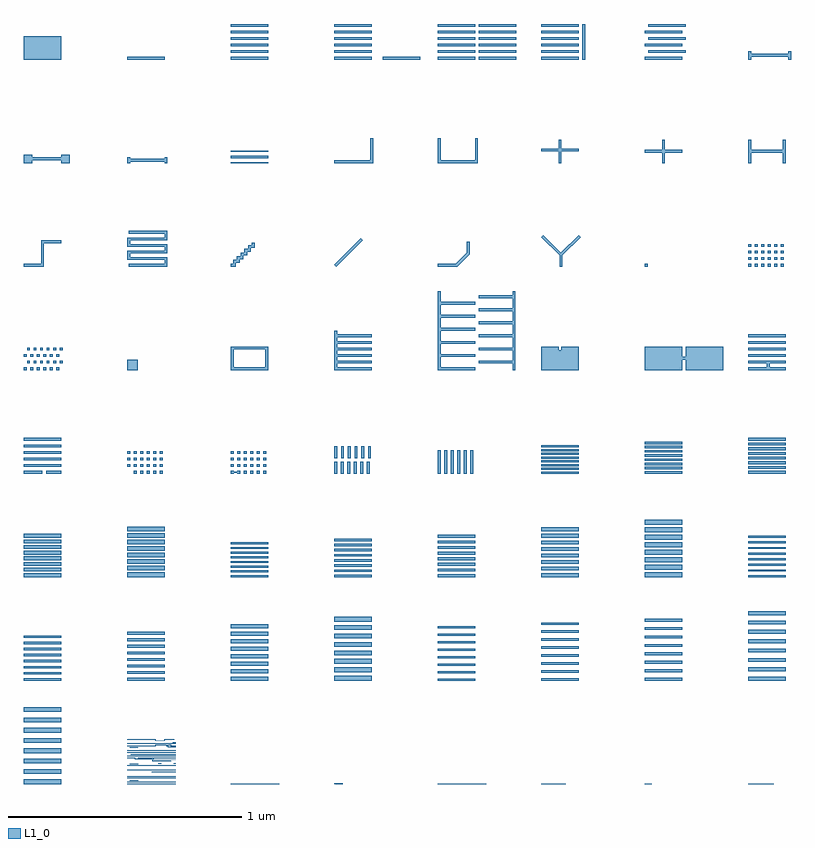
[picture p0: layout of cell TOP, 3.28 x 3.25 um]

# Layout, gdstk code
import gdstk
lib = gdstk.Library(unit=1e-6, precision=1e-10)
def R(c, l, rs):  # rectangles x0, y0, x1, y1
    for r in rs: c.add(gdstk.rectangle(r[:2], r[2:], *l))
def A(c, l, x, y, w, h, nx, ny, dx, dy):  # array of equal rectangles
    R(c, l, [(x+i*dx, y+j*dy, x+i*dx+w, y+j*dy+h) for i in range(nx) for j in range(ny)])
def P(c, l, *ps):  # polygons
    for p in ps: c.add(gdstk.Polygon(p, *l))
L1_0 = (1, 0)

p00000 = lib.new_cell('P00000')
R(p00000, L1_0, [(0,0,0.16,0.1)])

p00001 = lib.new_cell('P00001')
R(p00001, L1_0, [(0.4426,0,0.6026,0.012)])

p00002 = lib.new_cell('P00002')
A(p00002, L1_0, 0.8852, 0, 0.16, 0.012, 1, 6, 0, 0.028)

p00003 = lib.new_cell('P00003')
A(p00003, L1_0, 1.3278, 0, 0.16, 0.012, 1, 6, 0, 0.028)
R(p00003, L1_0, [(1.5358,0,1.6958,0.012)])

p00004 = lib.new_cell('P00004')
A(p00004, L1_0, 1.7704, 0, 0.16, 0.012, 1, 6, 0, 0.028)
A(p00004, L1_0, 1.9464, 0, 0.16, 0.012, 1, 6, 0, 0.028)

p00005 = lib.new_cell('P00005')
A(p00005, L1_0, 2.213, 0, 0.16, 0.012, 1, 6, 0, 0.028)
R(p00005, L1_0, [(2.389,0,2.401,0.152)])

p00006 = lib.new_cell('P00006')
A(p00006, L1_0, 2.6556, 0, 0.16, 0.012, 1, 3, 0, 0.056)
A(p00006, L1_0, 2.6716, 0.028, 0.16, 0.012, 1, 3, 0, 0.056)

p00007 = lib.new_cell('P00007')
P(p00007, L1_0, [(3.0982,0.036),(3.0982,0),(3.1102,0),(3.1102,0.012),(3.2702,0.012),(3.2702,0),(3.2822,0),(3.2822,0.036),(3.2702,0.036),(3.2702,0.024),(3.1102,0.024),(3.1102,0.036)])

p00008 = lib.new_cell('P00008')
P(p00008, L1_0, [(0.036,-0.4306),(0.16,-0.4306),(0.16,-0.4426),(0.196,-0.4426),(0.196,-0.4066),(0.16,-0.4066),(0.16,-0.4186),(0.036,-0.4186),(0.036,-0.4066),(0,-0.4066),(0,-0.4426),(0.036,-0.4426)])

p00009 = lib.new_cell('P00009')
P(p00009, L1_0, [(0.6026,-0.4186),(0.6026,-0.4246),(0.4546,-0.4246),(0.4546,-0.4186),(0.4426,-0.4186),(0.4426,-0.4426),(0.4546,-0.4426),(0.4546,-0.4366),(0.6026,-0.4366),(0.6026,-0.4426),(0.6146,-0.4426),(0.6146,-0.4186)])

p00010 = lib.new_cell('P00010')
R(p00010, L1_0, [(0.8852,-0.4426,1.0452,-0.4386), (0.8852,-0.4226,1.0452,-0.4106), (0.8852,-0.3946,1.0452,-0.3906)])

p00011 = lib.new_cell('P00011')
P(p00011, L1_0, [(1.4938,-0.3366),(1.4818,-0.3366),(1.4818,-0.4306),(1.3278,-0.4306),(1.3278,-0.4426),(1.4938,-0.4426)])

p00012 = lib.new_cell('P00012')
P(p00012, L1_0, [(1.9424,-0.3366),(1.9304,-0.3366),(1.9304,-0.4306),(1.7824,-0.4306),(1.7824,-0.3366),(1.7704,-0.3366),(1.7704,-0.4426),(1.9424,-0.4426)])

p00013 = lib.new_cell('P00013')
P(p00013, L1_0, [(2.299,-0.3926),(2.373,-0.3926),(2.373,-0.3806),(2.299,-0.3806),(2.299,-0.3426),(2.287,-0.3426),(2.287,-0.3806),(2.213,-0.3806),(2.213,-0.3926),(2.287,-0.3926),(2.287,-0.4426),(2.299,-0.4426)])

p00014 = lib.new_cell('P00014')
P(p00014, L1_0, [(2.7416,-0.3986),(2.8156,-0.3986),(2.8156,-0.3866),(2.7416,-0.3866),(2.7416,-0.3426),(2.7296,-0.3426),(2.7296,-0.3866),(2.6556,-0.3866),(2.6556,-0.3986),(2.7296,-0.3986),(2.7296,-0.4426),(2.7416,-0.4426)])

p00015 = lib.new_cell('P00015')
P(p00015, L1_0, [(3.2462,-0.3426),(3.2462,-0.3866),(3.1102,-0.3866),(3.1102,-0.3426),(3.0982,-0.3426),(3.0982,-0.4426),(3.1102,-0.4426),(3.1102,-0.3986),(3.2462,-0.3986),(3.2462,-0.4426),(3.2582,-0.4426),(3.2582,-0.3426)])

p00016 = lib.new_cell('P00016')
P(p00016, L1_0, [(0.086,-0.7852),(0.16,-0.7852),(0.16,-0.7732),(0.074,-0.7732),(0.074,-0.8732),(0,-0.8732),(0,-0.8852),(0.086,-0.8852)])

p00017 = lib.new_cell('P00017')
P(p00017, L1_0, [(0.6146,-0.8452),(0.4546,-0.8452),(0.4546,-0.8292),(0.6146,-0.8292),(0.6146,-0.7892),(0.4546,-0.7892),(0.4546,-0.7732),(0.6146,-0.7732),(0.6146,-0.7332),(0.4486,-0.7332),(0.4486,-0.7452),(0.6026,-0.7452),(0.6026,-0.7612),(0.4426,-0.7612),(0.4426,-0.8012),(0.6026,-0.8012),(0.6026,-0.8172),(0.4426,-0.8172),(0.4426,-0.8572),(0.6026,-0.8572),(0.6026,-0.8732),(0.4486,-0.8732),(0.4486,-0.8852),(0.6146,-0.8852)])

p00018 = lib.new_cell('P00018')
P(p00018, L1_0, [(0.9072,-0.8692),(0.9232,-0.8692),(0.9232,-0.8532),(0.9392,-0.8532),(0.9392,-0.8372),(0.9552,-0.8372),(0.9552,-0.8212),(0.9712,-0.8212),(0.9712,-0.8052),(0.9872,-0.8052),(0.9872,-0.7832),(0.9752,-0.7832),(0.9752,-0.7932),(0.9592,-0.7932),(0.9592,-0.8092),(0.9432,-0.8092),(0.9432,-0.8252),(0.9272,-0.8252),(0.9272,-0.8412),(0.9112,-0.8412),(0.9112,-0.8572),(0.8952,-0.8572),(0.8952,-0.8732),(0.8852,-0.8732),(0.8852,-0.8852),(0.9072,-0.8852)])

p00019 = lib.new_cell('P00019')
P(p00019, L1_0, [(1.4494,-0.7721),(1.4409,-0.7636),(1.3278,-0.8768),(1.3362,-0.8852)])

p00020 = lib.new_cell('P00020')
P(p00020, L1_0, [(1.9064,-0.8317),(1.9064,-0.7792),(1.8944,-0.7792),(1.8944,-0.8267),(1.8479,-0.8732),(1.7704,-0.8732),(1.7704,-0.8852),(1.8529,-0.8852)])

p00021 = lib.new_cell('P00021')
P(p00021, L1_0, [(2.3032,-0.8376),(2.3814,-0.7594),(2.373,-0.751),(2.2972,-0.8268),(2.2214,-0.751),(2.213,-0.7594),(2.2912,-0.8377),(2.2912,-0.8852),(2.3032,-0.8852)])

p00022 = lib.new_cell('P00022')
R(p00022, L1_0, [(2.6556,-0.8852,2.6676,-0.8732)])

p00023 = lib.new_cell('P00023')
A(p00023, L1_0, 3.0982, -0.8852, 0.012, 0.012, 6, 4, 0.028, 0.028)

p00024 = lib.new_cell('P00024')
A(p00024, L1_0, 0, -1.3278, 0.012, 0.012, 6, 2, 0.028, 0.056)
A(p00024, L1_0, 0.014, -1.2998, 0.012, 0.012, 6, 2, 0.028, 0.056)

p00025 = lib.new_cell('P00025')
R(p00025, L1_0, [(0.4426,-1.3278,0.4866,-1.2838)])

p00026 = lib.new_cell('P00026')
P(p00026, L1_0, [(1.0452,-1.2278),(0.8852,-1.2278),(0.8852,-1.3158),(0.8972,-1.3158),(0.8972,-1.2398),(1.0332,-1.2398),(1.0332,-1.3158),(0.8852,-1.3158),(0.8852,-1.3278),(1.0452,-1.3278)])

p00027 = lib.new_cell('P00027')
P(p00027, L1_0, [(1.4878,-1.3158),(1.3398,-1.3158),(1.3398,-1.2998),(1.4878,-1.2998),(1.4878,-1.2878),(1.3398,-1.2878),(1.3398,-1.2718),(1.4878,-1.2718),(1.4878,-1.2598),(1.3398,-1.2598),(1.3398,-1.2438),(1.4878,-1.2438),(1.4878,-1.2318),(1.3398,-1.2318),(1.3398,-1.2158),(1.4878,-1.2158),(1.4878,-1.2038),(1.3398,-1.2038),(1.3398,-1.1878),(1.4878,-1.1878),(1.4878,-1.1758),(1.3398,-1.1758),(1.3398,-1.1598),(1.3278,-1.1598),(1.3278,-1.3278),(1.4878,-1.3278)])

p00028 = lib.new_cell('P00028')
P(p00028, L1_0, [(2.1024,-0.9918),(2.0904,-0.9918),(2.0904,-1.0078),(1.9464,-1.0078),(1.9464,-1.0198),(2.0904,-1.0198),(2.0904,-1.0638),(1.9464,-1.0638),(1.9464,-1.0758),(2.0904,-1.0758),(2.0904,-1.1198),(1.9464,-1.1198),(1.9464,-1.1318),(2.0904,-1.1318),(2.0904,-1.1758),(1.9464,-1.1758),(1.9464,-1.1878),(2.0904,-1.1878),(2.0904,-1.2318),(1.9464,-1.2318),(1.9464,-1.2438),(2.0904,-1.2438),(2.0904,-1.2878),(1.9464,-1.2878),(1.9464,-1.2998),(2.0904,-1.2998),(2.0904,-1.3278),(2.1024,-1.3278)],
  [(1.9304,-1.3158),(1.7824,-1.3158),(1.7824,-1.2718),(1.9304,-1.2718),(1.9304,-1.2598),(1.7824,-1.2598),(1.7824,-1.2158),(1.9304,-1.2158),(1.9304,-1.2038),(1.7824,-1.2038),(1.7824,-1.1598),(1.9304,-1.1598),(1.9304,-1.1478),(1.7824,-1.1478),(1.7824,-1.1038),(1.9304,-1.1038),(1.9304,-1.0918),(1.7824,-1.0918),(1.7824,-1.0478),(1.9304,-1.0478),(1.9304,-1.0358),(1.7824,-1.0358),(1.7824,-0.9918),(1.7704,-0.9918),(1.7704,-1.3278),(1.9304,-1.3278)])

p00029 = lib.new_cell('P00029')
P(p00029, L1_0, [(2.373,-1.2278),(2.299,-1.2278),(2.299,-1.2438),(2.287,-1.2438),(2.287,-1.2278),(2.213,-1.2278),(2.213,-1.3278),(2.373,-1.3278)])

p00030 = lib.new_cell('P00030')
P(p00030, L1_0, [(2.6556,-1.2278),(2.6556,-1.3278),(2.8156,-1.3278),(2.8156,-1.2838),(2.8316,-1.2838),(2.8316,-1.3278),(2.9916,-1.3278),(2.9916,-1.2278),(2.8316,-1.2278),(2.8316,-1.2718),(2.8156,-1.2718),(2.8156,-1.2278)])

p00031 = lib.new_cell('P00031')
A(p00031, L1_0, 3.0982, -1.2718, 0.16, 0.012, 1, 4, 0, 0.028)
P(p00031, L1_0, [(3.0982,-1.3158),(3.0982,-1.3278),(3.2582,-1.3278),(3.2582,-1.3158),(3.1902,-1.3158),(3.1902,-1.2998),(3.2582,-1.2998),(3.2582,-1.2878),(3.0982,-1.2878),(3.0982,-1.2998),(3.1782,-1.2998),(3.1782,-1.3158)])

p00032 = lib.new_cell('P00032')
A(p00032, L1_0, 0, -1.7424, 0.16, 0.012, 1, 5, 0, 0.028)
R(p00032, L1_0, [(0,-1.7704,0.08,-1.7584), (0.096,-1.7704,0.16,-1.7584)])

p00033 = lib.new_cell('P00033')
A(p00033, L1_0, 0.4706, -1.7704, 0.012, 0.012, 5, 1, 0.028, 0)
A(p00033, L1_0, 0.4426, -1.7424, 0.012, 0.012, 6, 3, 0.028, 0.028)

p00034 = lib.new_cell('P00034')
A(p00034, L1_0, 0.9412, -1.7704, 0.012, 0.012, 4, 1, 0.028, 0)
A(p00034, L1_0, 0.8852, -1.7424, 0.012, 0.012, 6, 3, 0.028, 0.028)
P(p00034, L1_0, [(0.8852,-1.7584),(0.8852,-1.7704),(0.8972,-1.7704),(0.8972,-1.7664),(0.9132,-1.7664),(0.9132,-1.7704),(0.9252,-1.7704),(0.9252,-1.7584),(0.9132,-1.7584),(0.9132,-1.7624),(0.8972,-1.7624),(0.8972,-1.7584)])

p00035 = lib.new_cell('P00035')
A(p00035, L1_0, 1.3278, -1.7704, 0.012, 0.05, 6, 1, 0.028, 0)
A(p00035, L1_0, 1.3278, -1.7044, 0.012, 0.05, 6, 1, 0.029, 0)

p00036 = lib.new_cell('P00036')
A(p00036, L1_0, 1.7704, -1.7704, 0.012, 0.1, 6, 1, 0.028, 0)

p00037 = lib.new_cell('P00037')
A(p00037, L1_0, 2.213, -1.7704, 0.16, 0.008, 1, 8, 0, 0.016)

p00038 = lib.new_cell('P00038')
A(p00038, L1_0, 2.6556, -1.7704, 0.16, 0.01, 1, 8, 0, 0.018)

p00039 = lib.new_cell('P00039')
A(p00039, L1_0, 3.0982, -1.7704, 0.16, 0.012, 1, 8, 0, 0.02)

p00040 = lib.new_cell('P00040')
A(p00040, L1_0, 0, -2.213, 0.16, 0.016, 1, 8, 0, 0.024)

p00041 = lib.new_cell('P00041')
A(p00041, L1_0, 0.4426, -2.213, 0.16, 0.02, 1, 8, 0, 0.028)

p00042 = lib.new_cell('P00042')
A(p00042, L1_0, 0.8852, -2.213, 0.16, 0.008, 1, 8, 0, 0.02)

p00043 = lib.new_cell('P00043')
A(p00043, L1_0, 1.3278, -2.213, 0.16, 0.01, 1, 8, 0, 0.022)

p00044 = lib.new_cell('P00044')
A(p00044, L1_0, 1.7704, -2.213, 0.16, 0.012, 1, 8, 0, 0.024)

p00045 = lib.new_cell('P00045')
A(p00045, L1_0, 2.213, -2.213, 0.16, 0.016, 1, 8, 0, 0.028)

p00046 = lib.new_cell('P00046')
A(p00046, L1_0, 2.6556, -2.213, 0.16, 0.02, 1, 8, 0, 0.032)

p00047 = lib.new_cell('P00047')
A(p00047, L1_0, 3.0982, -2.213, 0.16, 0.008, 1, 8, 0, 0.024)

p00048 = lib.new_cell('P00048')
A(p00048, L1_0, 0, -2.6556, 0.16, 0.01, 1, 8, 0, 0.026)

p00049 = lib.new_cell('P00049')
A(p00049, L1_0, 0.4426, -2.6556, 0.16, 0.012, 1, 8, 0, 0.028)

p00050 = lib.new_cell('P00050')
A(p00050, L1_0, 0.8852, -2.6556, 0.16, 0.016, 1, 8, 0, 0.032)

p00051 = lib.new_cell('P00051')
A(p00051, L1_0, 1.3278, -2.6556, 0.16, 0.02, 1, 8, 0, 0.036)

p00052 = lib.new_cell('P00052')
A(p00052, L1_0, 1.7704, -2.6556, 0.16, 0.008, 1, 8, 0, 0.032)

p00053 = lib.new_cell('P00053')
A(p00053, L1_0, 2.213, -2.6556, 0.16, 0.01, 1, 8, 0, 0.034)

p00054 = lib.new_cell('P00054')
A(p00054, L1_0, 2.6556, -2.6556, 0.16, 0.012, 1, 8, 0, 0.036)

p00055 = lib.new_cell('P00055')
A(p00055, L1_0, 3.0982, -2.6556, 0.16, 0.016, 1, 8, 0, 0.04)

p00056 = lib.new_cell('P00056')
A(p00056, L1_0, 0, -3.0982, 0.16, 0.02, 1, 8, 0, 0.044)

p00057 = lib.new_cell('P00057')
R(p00057, L1_0, [(0.4426,-3.0982,0.6506,-3.0962), (0.4426,-3.0902,0.6506,-3.0882), (0.4426,-3.0782,0.6506,-3.0772), (0.4426,-3.0742,0.6506,-3.0722), (0.4426,-3.0662,0.6506,-3.0642), (0.4426,-3.0502,0.6506,-3.0492), (0.5466,-3.0472,0.6506,-3.0452), (0.4426,-3.0392,0.6506,-3.0372), (0.6216,-3.0312,0.6506,-3.0302), (0.4426,-3.0232,0.5526,-3.0222), (0.4426,-3.0192,0.6506,-3.0172), (0.4526,-3.0142,0.4886,-3.0112), (0.5746,-3.0112,0.5886,-3.0092), (0.4426,-3.0032,0.6506,-3.0022), (0.4426,-2.9802,0.6506,-2.9782), (0.4566,-2.9722,0.6506,-2.9702), (0.4426,-2.9642,0.6506,-2.9622), (0.4426,-2.9562,0.6506,-2.9542), (0.4426,-2.9482,0.6506,-2.9472), (0.4426,-2.9252,0.6506,-2.9232), (0.6216,-2.9132,0.6506,-2.9122)])
P(p00057, L1_0, [(0.4526,-3.0822),(0.4526,-3.0852),(0.4556,-3.0842),(0.4566,-3.0852),(0.4886,-3.0852),(0.4886,-3.0822)],
  [(0.6416,-3.0092),(0.6416,-3.0112),(0.6506,-3.0112),(0.6506,-3.0092),(0.6446,-3.0092),(0.6436,-3.0102)],
  [(0.4426,-2.9942),(0.4426,-2.9952),(0.5486,-2.9952),(0.5496,-2.9962),(0.5496,-3.0002),(0.6306,-3.0002),(0.6296,-2.9982),(0.5536,-2.9982),(0.5526,-2.9972),(0.5526,-2.9942)],
  [(0.4876,-2.9862),(0.4886,-2.9882),(0.6506,-2.9882),(0.6506,-2.9862)],
  [(0.4426,-2.9862),(0.4426,-2.9882),(0.4716,-2.9882),(0.4726,-2.9872),(0.4756,-2.9892),(0.4756,-2.9922),(0.5536,-2.9922),(0.5546,-2.9952),(0.6506,-2.9952),(0.6506,-2.9942),(0.5566,-2.9942),(0.5556,-2.9932),(0.5556,-2.9902),(0.4786,-2.9902),(0.4776,-2.9892),(0.4776,-2.9862)],
  [(0.4526,-2.9412),(0.4526,-2.9432),(0.4886,-2.9432),(0.4876,-2.9402),(0.4556,-2.9402),(0.4546,-2.9412),(0.4536,-2.9402)],
  [(0.6096,-2.9352),(0.6096,-2.9372),(0.6156,-2.9372),(0.6166,-2.9402),(0.6506,-2.9402),(0.6506,-2.9392),(0.6196,-2.9392),(0.6186,-2.9382),(0.6186,-2.9352)],
  [(0.6506,-2.9352),(0.6316,-2.9352),(0.6306,-2.9342),(0.6306,-2.9312),(0.5616,-2.9312),(0.5626,-2.9322),(0.5606,-2.9352),(0.4426,-2.9352),(0.4426,-2.9372),(0.5636,-2.9372),(0.5636,-2.9342),(0.5646,-2.9332),(0.6266,-2.9332),(0.6276,-2.9322),(0.6286,-2.9332),(0.6286,-2.9372),(0.6506,-2.9372)],
  [(0.6376,-2.9192),(0.6376,-2.9212),(0.6506,-2.9212),(0.6506,-2.9192),(0.6486,-2.9202),(0.6476,-2.9192)],
  [(0.4426,-2.9072),(0.4426,-2.9092),(0.5606,-2.9092),(0.5616,-2.9102),(0.5616,-2.9132),(0.6026,-2.9132),(0.6026,-2.9102),(0.6036,-2.9092),(0.6426,-2.9092),(0.6426,-2.9072),(0.6016,-2.9072),(0.6016,-2.9112),(0.6006,-2.9122),(0.5646,-2.9122),(0.5636,-2.9112),(0.5636,-2.9072)])

p00058 = lib.new_cell('P00058')
R(p00058, L1_0, [(0.8852,-3.0982,1.0932,-3.0962)])

p00059 = lib.new_cell('P00059')
P(p00059, L1_0, [(1.3278,-3.0952),(1.3278,-3.0982),(1.3308,-3.0972),(1.3318,-3.0982),(1.3638,-3.0982),(1.3638,-3.0952)])

p00060 = lib.new_cell('P00060')
R(p00060, L1_0, [(1.7704,-3.0982,1.9784,-3.0972)])

p00061 = lib.new_cell('P00061')
R(p00061, L1_0, [(2.213,-3.0982,2.317,-3.0962)])

p00062 = lib.new_cell('P00062')
R(p00062, L1_0, [(2.6556,-3.0982,2.6846,-3.0972)])

p00063 = lib.new_cell('P00063')
R(p00063, L1_0, [(3.0982,-3.0982,3.2082,-3.0972)])

top = lib.new_cell('TOP')
top.add(gdstk.Reference(p00000, (0,0)))
top.add(gdstk.Reference(p00001, (0,0)))
top.add(gdstk.Reference(p00002, (0,0)))
top.add(gdstk.Reference(p00003, (0,0)))
top.add(gdstk.Reference(p00004, (0,0)))
top.add(gdstk.Reference(p00005, (0,0)))
top.add(gdstk.Reference(p00006, (0,0)))
top.add(gdstk.Reference(p00007, (0,0)))
top.add(gdstk.Reference(p00008, (0,0)))
top.add(gdstk.Reference(p00009, (0,0)))
top.add(gdstk.Reference(p00010, (0,0)))
top.add(gdstk.Reference(p00011, (0,0)))
top.add(gdstk.Reference(p00012, (0,0)))
top.add(gdstk.Reference(p00013, (0,0)))
top.add(gdstk.Reference(p00014, (0,0)))
top.add(gdstk.Reference(p00015, (0,0)))
top.add(gdstk.Reference(p00016, (0,0)))
top.add(gdstk.Reference(p00017, (0,0)))
top.add(gdstk.Reference(p00018, (0,0)))
top.add(gdstk.Reference(p00019, (0,0)))
top.add(gdstk.Reference(p00020, (0,0)))
top.add(gdstk.Reference(p00021, (0,0)))
top.add(gdstk.Reference(p00022, (0,0)))
top.add(gdstk.Reference(p00023, (0,0)))
top.add(gdstk.Reference(p00024, (0,0)))
top.add(gdstk.Reference(p00025, (0,0)))
top.add(gdstk.Reference(p00026, (0,0)))
top.add(gdstk.Reference(p00027, (0,0)))
top.add(gdstk.Reference(p00028, (0,0)))
top.add(gdstk.Reference(p00029, (0,0)))
top.add(gdstk.Reference(p00030, (0,0)))
top.add(gdstk.Reference(p00031, (0,0)))
top.add(gdstk.Reference(p00032, (0,0)))
top.add(gdstk.Reference(p00033, (0,0)))
top.add(gdstk.Reference(p00034, (0,0)))
top.add(gdstk.Reference(p00035, (0,0)))
top.add(gdstk.Reference(p00036, (0,0)))
top.add(gdstk.Reference(p00037, (0,0)))
top.add(gdstk.Reference(p00038, (0,0)))
top.add(gdstk.Reference(p00039, (0,0)))
top.add(gdstk.Reference(p00040, (0,0)))
top.add(gdstk.Reference(p00041, (0,0)))
top.add(gdstk.Reference(p00042, (0,0)))
top.add(gdstk.Reference(p00043, (0,0)))
top.add(gdstk.Reference(p00044, (0,0)))
top.add(gdstk.Reference(p00045, (0,0)))
top.add(gdstk.Reference(p00046, (0,0)))
top.add(gdstk.Reference(p00047, (0,0)))
top.add(gdstk.Reference(p00048, (0,0)))
top.add(gdstk.Reference(p00049, (0,0)))
top.add(gdstk.Reference(p00050, (0,0)))
top.add(gdstk.Reference(p00051, (0,0)))
top.add(gdstk.Reference(p00052, (0,0)))
top.add(gdstk.Reference(p00053, (0,0)))
top.add(gdstk.Reference(p00054, (0,0)))
top.add(gdstk.Reference(p00055, (0,0)))
top.add(gdstk.Reference(p00056, (0,0)))
top.add(gdstk.Reference(p00057, (0,0)))
top.add(gdstk.Reference(p00058, (0,0)))
top.add(gdstk.Reference(p00059, (0,0)))
top.add(gdstk.Reference(p00060, (0,0)))
top.add(gdstk.Reference(p00061, (0,0)))
top.add(gdstk.Reference(p00062, (0,0)))
top.add(gdstk.Reference(p00063, (0,0)))

lib.write_gds('TOP.gds')
